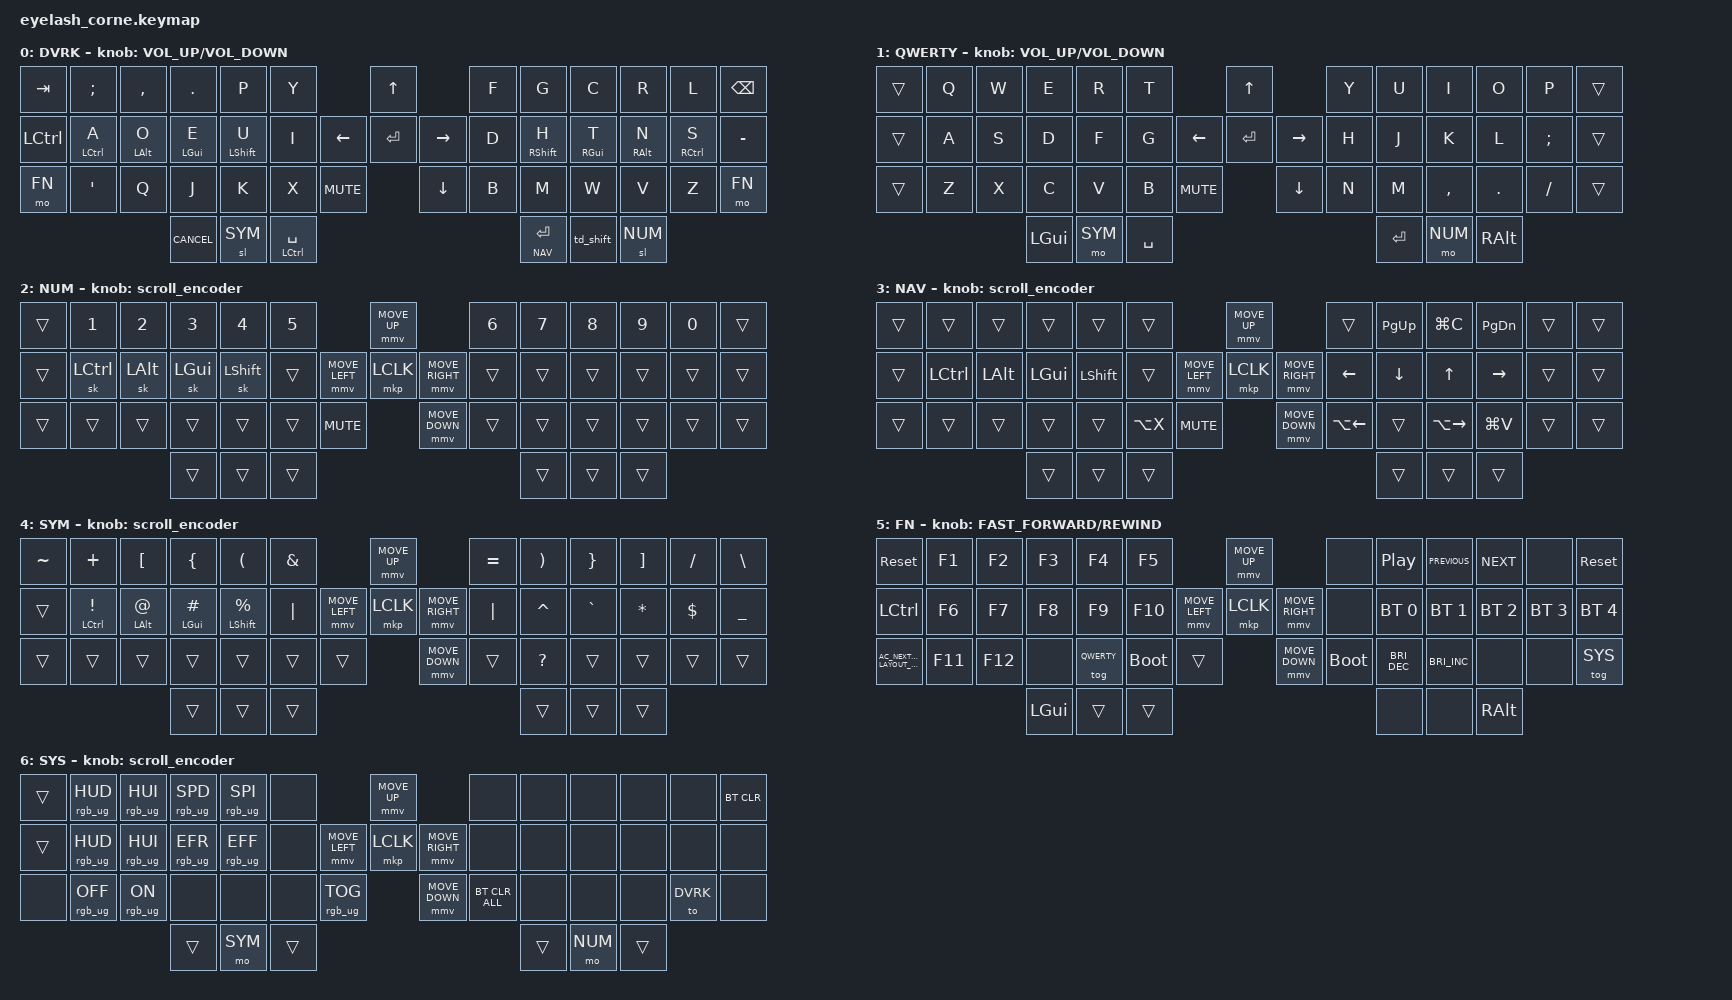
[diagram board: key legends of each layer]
#define ZMK_POINTING_DEFAULT_MOVE_VAL 1200  // 600
#define ZMK_POINTING_DEFAULT_SCRL_VAL 25   // 10

#include <input/processors.dtsi>
#include <zephyr/dt-bindings/input/input-event-codes.h>
#include <behaviors.dtsi>
#include <dt-bindings/zmk/bt.h>
#include <dt-bindings/zmk/ext_power.h>
#include <dt-bindings/zmk/keys.h>
#include <dt-bindings/zmk/outputs.h>
#include <dt-bindings/zmk/pointing.h>
#include <dt-bindings/zmk/rgb.h>
#include <behaviors/num_word.dtsi>

&mmv_input_listener { input-processors = <&zip_xy_scaler 2 1>; };

&msc_input_listener { input-processors = <&zip_scroll_scaler 2 1>; };

&msc {
    acceleration-exponent = <1>;      // 0
    time-to-max-speed-ms = <100>;       // 300
    delay-ms = <0>;                   // 0
};

&mmv {
    time-to-max-speed-ms = <500>;
    acceleration-exponent = <1>;
    trigger-period-ms = <16>;
};

// 34 - rotator press
// 6 19 20 21  35 - cursor movement
// 
// 0   1   2   3   4   5           6           7   8   9   10  11  12
// 13  14  15  16  17  18      19  20  21      22  23  24  25  26  27
// 28  29  30  31  32  33  34      35          36  37  38  39  40  41
//             42  43  44                      45  46  47

#define KEYS_L 0 1 2 3 4 5 13 14 15 16 17 18 28 29 30 31 32 33
#define KEYS_R 7 8 9 10 11 12 22 23 24 25 26 27 36 37 38 39 40 41
#define THUMBS 42 43 44 45 46 47

#define DVRK    0
#define QWERTY  1
#define NUM     2
#define NAV     3
#define SYM     4
#define FN      5
#define SYS     6

/ {
    behaviors {
        cmt: mod_tap {
            compatible = "zmk,behavior-hold-tap";
            #binding-cells = <2>;
            flavor = "tap-preferred";
            tapping-term-ms = <200>;
            bindings = <&kp>, <&kp>;
            display-name = "Mod-Tap";
        };

        skq: skq {
            compatible = "zmk,behavior-sticky-key";
            #binding-cells = <1>;
            bindings = <&kp>;
            release-after-ms = <1000>;
            quick-release;
            ignore-modifiers;
        };

        hml: hml {
            compatible = "zmk,behavior-hold-tap";
            flavor = "tap-preferred";
            tapping-term-ms = <200>;
            quick-tap-ms = <175>;
            require-prior-idle-ms = <100>;
            #binding-cells = <2>;
            bindings = <&kp>, <&kp>;
            hold-trigger-key-positions = <KEYS_R THUMBS>;
            hold-trigger-on-release;
        };

        hmr: hmr {
            compatible = "zmk,behavior-hold-tap";
            flavor = "tap-preferred";
            tapping-term-ms = <200>;
            quick-tap-ms = <175>;
            require-prior-idle-ms = <100>;
            #binding-cells = <2>;
            bindings = <&kp>, <&kp>;
            hold-trigger-key-positions = <KEYS_L THUMBS>;
            hold-trigger-on-release;
        };

        td_shift: td_shift {
            compatible = "zmk,behavior-tap-dance";
            display-name = "Sticky Shift/Caps Word Tap Dance";
            #binding-cells = <0>;
            bindings = <&skq RSHIFT>, <&caps_word>;
            tapping-term-ms = <300>;
        };

        nav_word: nav_word {
            compatible = "zmk,behavior-auto-layer";
            #binding-cells = <1>;
            continue-list = <LEFT DOWN UP RIGHT PG_DN PG_UP DELETE>;
            ignore-modifiers;
        };

        td_enter_nav: td_enter_nav {
            compatible = "zmk,behavior-tap-dance";
            display-name = "Enter/Nav Word Tap Dance";
            #binding-cells = <0>;
            bindings = <&kp ENTER>, <&nav_word NAV>;
            tapping-term-ms = <200>;
        };

        nlt: num_layer_tap {
            compatible = "zmk,behavior-hold-tap";
            #binding-cells = <2>;
            flavor = "hold-preferred";
            tapping-term-ms = <200>;
            bindings = <&mo>, <&num_word>;
            display-name = "Num-Layer-Tap";
        };

    };

    combos {
        compatible = "zmk,combos";

        esc {
            bindings = <&kp ESCAPE>;
            key-positions = <1 2>;
        };

    };

    rgb_encoder: rgb_encoder {
        compatible = "zmk,behavior-sensor-rotate";
        #sensor-binding-cells = <0>;
        bindings = <&rgb_ug RGB_BRI>, <&rgb_ug RGB_BRD>;
    };

    scroll_encoder: scroll_encoder {
        compatible = "zmk,behavior-sensor-rotate";
        #sensor-binding-cells = <0>;
        bindings = <&msc SCRL_DOWN>, <&msc SCRL_UP>;
        tap-ms = <100>;
    };

    keymap {
        compatible = "zmk,keymap";

        default_layer {
            display-name = "DVRK";
            bindings = <
&kp TAB     &kp SEMI        &kp COMMA   &kp DOT     &kp P           &kp Y                              &kp UP                &kp F          &kp G           &kp C           &kp R           &kp L           &kp BSPC
&kp LCTRL   &hml LCTRL A    &hml LALT O &hml LGUI E &hml LSHIFT U   &kp I                    &kp LEFT  &kp ENTER  &kp RIGHT  &kp D          &hmr RSHFT H    &hmr RGUI T     &hmr RALT N     &hmr RCTRL S    &kp MINUS
&mo FN      &kp SQT         &kp Q       &kp J       &kp K           &kp X       &kp C_MUTE             &kp DOWN              &kp B          &kp M           &kp W           &kp V           &kp Z           &mo FN
                                        &kp K_CANCEL   &sl SYM    &cmt LCTRL SPACE                                                        &lt NAV ENTER   &td_shift         &sl NUM
            >;
            sensor-bindings = <&inc_dec_kp C_VOLUME_UP C_VOLUME_DOWN>;
        };

        qwerty_layer {
            display-name = "QWERTY";
            bindings = <
&trans  &kp Q  &kp W      &kp E     &kp R  &kp T                              &kp UP                &kp Y        &kp U  &kp I      &kp O    &kp P     &trans
&trans  &kp A  &kp S      &kp D     &kp F  &kp G                    &kp LEFT  &kp ENTER  &kp RIGHT  &kp H        &kp J  &kp K      &kp L    &kp SEMI  &trans
&trans  &kp Z  &kp X      &kp C     &kp V  &kp B       &kp C_MUTE             &kp DOWN              &kp N        &kp M  &kp COMMA  &kp DOT  &kp FSLH  &trans
        &kp LGUI    &mo SYM       &kp SPACE                                                                &kp ENTER  &mo NUM   &kp RALT
            >;
            sensor-bindings = <&inc_dec_kp C_VOLUME_UP C_VOLUME_DOWN>;
        };

        number_layer {
            display-name = "NUM";
            bindings = <
&trans  &kp N1      &kp N2      &kp N3      &kp N4      &kp N5                              &mmv MOVE_UP                        &kp N6      &kp N7      &kp N8       &kp N9        &kp N0      &trans
&trans  &sk LCTRL   &sk LALT    &sk LGUI    &sk LSHIFT  &trans              &mmv MOVE_LEFT  &mkp LCLK       &mmv MOVE_RIGHT     &trans      &trans      &trans       &trans        &trans      &trans
&trans  &trans      &trans      &trans      &trans      &trans  &kp C_MUTE              &mmv MOVE_DOWN                          &trans      &trans      &trans       &trans        &trans      &trans
                                &trans      &trans      &trans                                                                  &trans      &trans      &trans
            >;
            sensor-bindings = <&scroll_encoder>;
        };

        nav_layer {
            display-name = "NAV";
            bindings = <
&trans  &trans      &trans      &trans      &trans      &trans                              &mmv MOVE_UP                        &trans      &kp PG_UP       &kp LG(C)       &kp PG_DN   &trans  &trans
&trans  &kp LCTRL   &kp LALT    &kp LGUI    &kp LSHIFT  &trans              &mmv MOVE_LEFT  &mkp LCLK       &mmv MOVE_RIGHT     &kp LEFT    &kp DOWN        &kp UP          &kp RIGHT   &trans  &trans
&trans  &trans      &trans      &trans      &trans      &kp LA(X)  &kp C_MUTE               &mmv MOVE_DOWN                      &kp LA(LEFT)      &trans    &kp LA(RIGHT)   &kp LG(V)   &trans  &trans
                                &trans      &trans      &trans                                                                  &trans    &trans    &trans
            >;
            sensor-bindings = <&scroll_encoder>;
        };

        symbol_layer {
            display-name = "SYM";
            bindings = <
&kp TILDE  &kp PLUS  &kp LBKT     &kp LBRC       &kp LPAR             &kp AMPS                           &mmv MOVE_UP                     &kp EQUAL  &kp RPAR      &kp RBRC   &kp RBKT      &kp SLASH    &kp BSLH
&trans     &hml LCTRL EXCLAMATION  &hml LALT AT &hml LGUI HASH &hml LSHIFT PERCENT  &kp PIPE           &mmv MOVE_LEFT  &mkp LCLK       &mmv MOVE_RIGHT  &kp PIPE   &kp CARET     &kp GRAVE  &kp ASTERISK  &kp DOLLAR   &kp UNDERSCORE
&trans     &trans           &trans       &trans         &trans               &trans     &trans                  &mmv MOVE_DOWN                   &trans     &kp QUESTION  &trans     &trans        &trans       &trans
                                      &trans    &trans       &trans                                                              &trans     &trans        &trans
            >;
            sensor-bindings = <&scroll_encoder>;
        };

        function_layer {
            display-name = "FN";
            bindings = <
&sys_reset                            &kp F1   &kp F2      &kp F3        &kp F4  &kp F5                                &mmv MOVE_UP                     &none        &kp C_PLAY_PAUSE  &kp C_PREVIOUS        &kp C_NEXT    &none         &sys_reset
&kp LCTRL                             &kp F6   &kp F7      &kp F8        &kp F9  &kp F10               &mmv MOVE_LEFT  &mkp LCLK       &mmv MOVE_RIGHT  &none        &bt BT_SEL 0      &bt BT_SEL 1          &bt BT_SEL 2  &bt BT_SEL 3  &bt BT_SEL 4
&kp C_AC_NEXT_KEYBOARD_LAYOUT_SELECT  &kp F11  &kp F12     &none         &tog QWERTY  &bootloader   &trans                  &mmv MOVE_DOWN              &bootloader  &kp C_BRI_DEC     &kp C_BRIGHTNESS_INC  &none         &none         &tog SYS      
                                      &kp LEFT_GUI    &trans       &trans                                                              &none     &none        &kp RALT
            >;
            sensor-bindings = <&inc_dec_kp C_FAST_FORWARD C_REWIND>;
        };

        system_layer {
            display-name = "SYS";
            bindings = <
&trans  &rgb_ug RGB_HUD  &rgb_ug RGB_HUI  &rgb_ug RGB_SPD  &rgb_ug RGB_SPI  &none                              &mmv MOVE_UP                        &none           &none  &none   &none  &none  &bt BT_CLR
&trans  &rgb_ug RGB_HUD  &rgb_ug RGB_HUI  &rgb_ug RGB_EFR  &rgb_ug RGB_EFF  &none              &mmv MOVE_LEFT  &mkp LCLK       &mmv MOVE_RIGHT     &none           &none  &none   &none  &none  &none
&none   &rgb_ug RGB_OFF  &rgb_ug RGB_ON   &none            &none            &none   &rgb_ug RGB_TOG                 &mmv MOVE_DOWN                      &bt BT_CLR_ALL  &none  &none   &none  &to DVRK  &none
                                          &trans           &mo SYM            &trans                                                                 &trans          &mo NUM  &trans
            >;
            sensor-bindings = <&scroll_encoder>;
        };

    };
};

